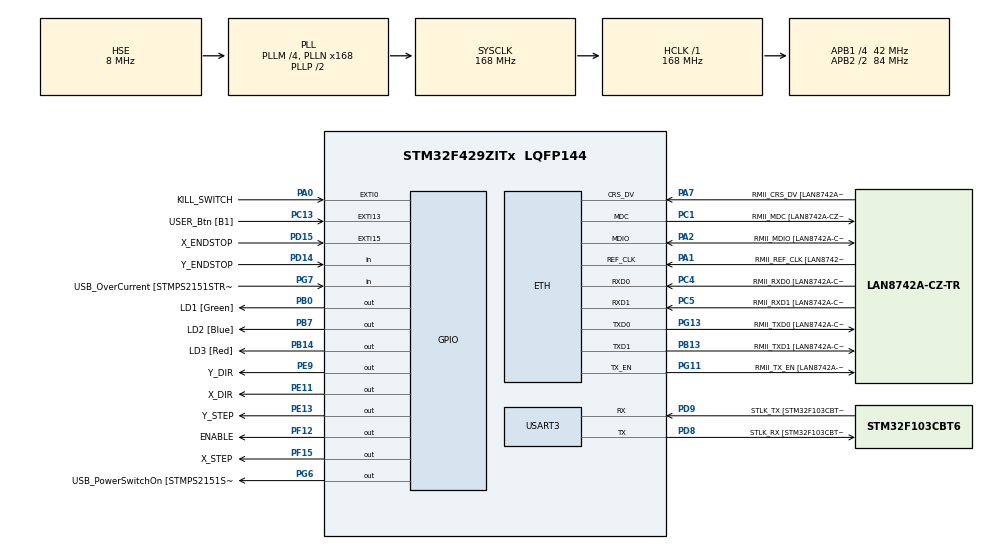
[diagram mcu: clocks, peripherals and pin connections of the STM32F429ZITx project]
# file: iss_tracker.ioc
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ETH.MediaInterface=HAL_ETH_RMII_MODE
ETH.PHY_Name=LAN8742A_PHY_ADDRESS
ETH.PHY_Value=0
ETH.PhyAddress=0
Mcu.Family=STM32F4
Mcu.Name=STM32F429ZITx
Mcu.Package=LQFP144
NVIC.EXTI0_IRQn=true\:0\:0\:false\:false\:true\:true\:true\:true
NVIC.PriorityGroup=NVIC_PRIORITYGROUP_4
NVIC.USART3_IRQn=true\:0\:0\:false\:false\:true\:true\:true\:true
PA0/WKUP.GPIO_Label=KILL_SWITCH
PA0/WKUP.GPIO_PuPd=GPIO_PULLUP
PA0/WKUP.Signal=GPXTI0
PA1.GPIO_Label=RMII_REF_CLK [LAN8742A-CZ-TR_REFCLK0]
PA1.Mode=RMII
PA1.Signal=ETH_REF_CLK
PA10.GPIO_Label=USB_ID
PA10.Signal=USB_OTG_FS_ID
PA11.GPIO_Label=USB_DM
PA11.Signal=USB_OTG_FS_DM
PA12.GPIO_Label=USB_DP
PA12.Signal=USB_OTG_FS_DP
PA13.GPIO_Label=TMS
PA13.Mode=Serial_Wire
PA13.Signal=SYS_JTMS-SWDIO
PA14.GPIO_Label=TCK
PA14.Mode=Serial_Wire
PA14.Signal=SYS_JTCK-SWCLK
PA2.GPIO_Label=RMII_MDIO [LAN8742A-CZ-TR_MDIO]
PA2.Mode=RMII
PA2.Signal=ETH_MDIO
PA7.GPIO_Label=RMII_CRS_DV [LAN8742A-CZ-TR_CRS_DV]
PA7.Mode=RMII
PA7.Signal=ETH_CRS_DV
PA8.GPIO_Label=USB_SOF [TP1]
PA8.Signal=USB_OTG_FS_SOF
PA9.GPIO_Label=USB_VBUS
PA9.Signal=USB_OTG_FS_VBUS
PB0.GPIO_Label=LD1 [Green]
PB0.Signal=GPIO_Output
PB13.GPIO_Label=RMII_TXD1 [LAN8742A-CZ-TR_TXD1]
PB13.Mode=RMII
PB13.Signal=ETH_TXD1
PB14.GPIO_Label=LD3 [Red]
PB14.Signal=GPIO_Output
PB7.GPIO_Label=LD2 [Blue]
PB7.Signal=GPIO_Output
PC1.GPIO_Label=RMII_MDC [LAN8742A-CZ-TR_MDC]
PC1.Mode=RMII
PC1.Signal=ETH_MDC
PC13.GPIO_Label=USER_Btn [B1]
PC13.Signal=GPXTI13
PC14/OSC32_IN.Mode=LSE-External-Oscillator
PC14/OSC32_IN.Signal=RCC_OSC32_IN
PC15/OSC32_OUT.Mode=LSE-External-Oscillator
PC15/OSC32_OUT.Signal=RCC_OSC32_OUT
PC4.GPIO_Label=RMII_RXD0 [LAN8742A-CZ-TR_RXD0]
PC4.Mode=RMII
PC4.Signal=ETH_RXD0
PC5.GPIO_Label=RMII_RXD1 [LAN8742A-CZ-TR_RXD1]
PC5.Mode=RMII
PC5.Signal=ETH_RXD1
PD14.GPIO_Label=Y_ENDSTOP
PD14.GPIO_PuPd=GPIO_PULLUP
PD14.Signal=GPIO_Input
PD15.GPIO_Label=X_ENDSTOP
PD15.GPIO_PuPd=GPIO_PULLUP
PD15.Signal=GPXTI15
PD8.GPIO_Label=STLK_RX [STM32F103CBT6_PA3]
PD8.Mode=Asynchronous
PD8.Signal=USART3_TX
PD9.GPIO_Label=STLK_TX [STM32F103CBT6_PA2]
PD9.Mode=Asynchronous
PD9.Signal=USART3_RX
PE11.GPIO_Label=X_DIR
PE11.Signal=GPIO_Output
PE13.GPIO_Label=Y_STEP
PE13.Signal=GPIO_Output
PE9.GPIO_Label=Y_DIR
PE9.PinState=GPIO_PIN_SET
PE9.Signal=GPIO_Output
PF12.GPIO_Label=ENABLE
PF12.Signal=GPIO_Output
PF15.GPIO_Label=X_STEP
PF15.Signal=GPIO_Output
PG11.GPIO_Label=RMII_TX_EN [LAN8742A-CZ-TR_TXEN]
PG11.Mode=RMII
PG11.Signal=ETH_TX_EN
PG13.GPIO_Label=RMII_TXD0 [LAN8742A-CZ-TR_TXD0]
PG13.Mode=RMII
PG13.Signal=ETH_TXD0
PG6.GPIO_Label=USB_PowerSwitchOn [STMPS2151STR_EN]
PG6.Signal=GPIO_Output
PG7.GPIO_Label=USB_OverCurrent [STMPS2151STR_FAULT]
PG7.Signal=GPIO_Input
PH0/OSC_IN.GPIO_Label=MCO [STM32F103CBT6_PA8]
PH0/OSC_IN.Mode=HSE-External-Clock-Source
PH0/OSC_IN.Signal=RCC_OSC_IN
PH1/OSC_OUT.Mode=HSE-External-Clock-Source
PH1/OSC_OUT.Signal=RCC_OSC_OUT
ProjectManager.HeapSize=0x200
ProjectManager.StackSize=0x400
ProjectManager.TargetToolchain=STM32CubeIDE
RCC.48MHZClocksFreq_Value=48000000
RCC.AHBFreq_Value=168000000
RCC.APB1CLKDivider=RCC_HCLK_DIV4
RCC.APB1Freq_Value=42000000
RCC.APB1TimFreq_Value=84000000
RCC.APB2CLKDivider=RCC_HCLK_DIV2
RCC.APB2Freq_Value=84000000
RCC.APB2TimCLKDivider=2
RCC.APB2TimFreq_Value=168000000
RCC.CortexFreq_Value=168000000
RCC.HCLKFreq_Value=168000000
RCC.HSE_VALUE=8000000
RCC.HSI_VALUE=16000000
RCC.PLLM=4
RCC.PLLMUL=RCC_PLL_MUL9
RCC.PLLN=168
RCC.PLLQ=7
RCC.PLLSourceVirtual=RCC_PLLSOURCE_HSE
RCC.PRESCALERUSB=RCC_USBCLKSOURCE_PLL_DIV1_5
RCC.SYSCLKFreq_VALUE=168000000
RCC.SYSCLKSource=RCC_SYSCLKSOURCE_PLLCLK
RCC.SYSCLKSourceVirtual=RCC_SYSCLKSOURCE_PLLCLK
RCC.USBFreq_Value=48000000
RCC.VCOOutputFreq_Value=336000000
USART3.VirtualMode=VM_ASYNC
board=NUCLEO-F429ZI

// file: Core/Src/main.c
/* USER CODE BEGIN Header */
/**
  ******************************************************************************
  * @file           : main.c
  * @brief          : Main program body
  ******************************************************************************
  * @attention
  *
  * Copyright (c) 2023 STMicroelectronics.
  * All rights reserved.
  *
  * This software is licensed under terms that can be found in the LICENSE file
  * in the root directory of this software component.
  * If no LICENSE file comes with this software, it is provided AS-IS.
  *
  ******************************************************************************
  */
/* USER CODE END Header */
#include "main.h"
#include "string.h"

/* USER CODE BEGIN Includes */
#include "stepper.h"
/* USER CODE END Includes */

ETH_TxPacketConfig TxConfig;
ETH_DMADescTypeDef  DMARxDscrTab[ETH_RX_DESC_CNT]; /* Ethernet Rx DMA Descriptors */
ETH_DMADescTypeDef  DMATxDscrTab[ETH_TX_DESC_CNT]; /* Ethernet Tx DMA Descriptors */

ETH_HandleTypeDef heth;

UART_HandleTypeDef huart3;

/* USER CODE BEGIN PV */
uint8_t rx_data[9];  //  creating a buffer of 10 bytes
volatile uint8_t newDataReceived = 0;
volatile uint8_t calibrationComplete = 0;

/* USER CODE END PV */

void SystemClock_Config(void);
static void MX_GPIO_Init(void);
static void MX_ETH_Init(void);
static void MX_USART3_UART_Init(void);

/* USER CODE BEGIN 0 */
typedef struct {
	int elevation_angle;
	int bearing_angle;
} ApiData;

ApiData apiData;

void CalibrateStepper(Stepper* stepperObj) {
    // Move stepper until endstop is reached
    while (Stepper_GetEndswitchState(stepperObj) == GPIO_PIN_RESET) {
        Stepper_Step(stepperObj);
    }

    // Calibration complete, set the flag
    calibrationComplete = 1;
}
void HAL_UART_RxCpltCallback(UART_HandleTypeDef *huart)
{
    // Your existing code
    HAL_UART_Receive_IT(&huart3, rx_data, 9);

    // Parse the received data to extract elevation and bearing angles
    sscanf((char*)rx_data, "%d:%d", &apiData.elevation_angle, &apiData.bearing_angle);

    // Set the flag to indicate that new data is received
    newDataReceived = 1;
	/*char debugMsg[50];
	sprintf(debugMsg, "New data recceived:  %d:%d\r\n", apiData.elevation_angle, apiData.bearing_angle);
	HAL_UART_Transmit(&huart3, (uint8_t*)debugMsg, strlen(debugMsg), HAL_MAX_DELAY);*/
}
/* USER CODE END 0 */

int main(void)
{

  /* MCU Configuration--------------------------------------------------------*/

  /* Reset of all peripherals, Initializes the Flash interface and the Systick. */
  HAL_Init();

  /* Configure the system clock */
  SystemClock_Config();

  /* Initialize all configured peripherals */
  MX_GPIO_Init();
  MX_ETH_Init();
  MX_USART3_UART_Init();
  /* USER CODE BEGIN 2 */
  Stepper stepperObject_X;
  PortPin stepperPortPin_X = {
		  .port = X_STEP_GPIO_Port,
		  .pin = X_STEP_Pin
  };
  PortPin dirPortPin_X = {
		  .port = X_DIR_GPIO_Port,
		  .pin = X_DIR_Pin
  };
  PortPin endswitchPortPin_X = {
		  .port = X_ENDSTOP_GPIO_Port,
		  .pin = X_ENDSTOP_Pin
  };

  Stepper_Init(&stepperObject_X, stepperPortPin_X, dirPortPin_X, endswitchPortPin_X, 0.6);

  Stepper stepperObject_Y;
  PortPin stepperPortPin_Y = {
		  .port = Y_STEP_GPIO_Port,
		  .pin = Y_STEP_Pin
  };
  PortPin dirPortPin_Y = {
		  .port = Y_DIR_GPIO_Port,
		  .pin = Y_DIR_Pin
  };
  PortPin endswitchPortPin_Y = {
		  .port = Y_ENDSTOP_GPIO_Port,
		  .pin = Y_ENDSTOP_Pin
  };

  Stepper_Init(&stepperObject_Y, stepperPortPin_Y, dirPortPin_Y, endswitchPortPin_Y, 0.45);
  CalibrateStepper(&stepperObject_X);
  CalibrateStepper(&stepperObject_Y);

  HAL_UART_Receive_IT (&huart3, rx_data, 9);
  /* USER CODE END 2 */

  /* Infinite loop */
  while (1)
  {

    /* USER CODE BEGIN 3 */
	  // Print debug message with received data
	  HAL_Delay(500);
	  char debugMsg[50];
	  sprintf(debugMsg, "New data received - Elevation: %d, Bearing: %d\r\n", apiData.elevation_angle, apiData.bearing_angle);
	  HAL_UART_Transmit(&huart3, (uint8_t*)debugMsg, strlen(debugMsg), HAL_MAX_DELAY);

	  // Move the motors based on the received data (assuming proper implementation of Stepper_TurnAngleRelative)
	  Stepper_TurnToAngleAbsolute(&stepperObject_X, (float)apiData.elevation_angle); //270
	  Stepper_TurnToAngleAbsolute(&stepperObject_Y, (float)apiData.bearing_angle); //45

	  // Reset the flag
	  newDataReceived = 0;
//    char msg[20];
//    sprintf(msg, "Value: %d, %d\r\n", apiData.elevation_angle, apiData.bearing_angle);
//	HAL_UART_Transmit(&huart3, msg, sizeof(msg), HAL_MAX_DELAY);
  }
  /* USER CODE END 3 */
}

void SystemClock_Config(void)
{
  RCC_OscInitTypeDef RCC_OscInitStruct = {0};
  RCC_ClkInitTypeDef RCC_ClkInitStruct = {0};

  /** Configure the main internal regulator output voltage
  */
  __HAL_RCC_PWR_CLK_ENABLE();
  __HAL_PWR_VOLTAGESCALING_CONFIG(PWR_REGULATOR_VOLTAGE_SCALE1);

  /** Initializes the RCC Oscillators according to the specified parameters
  * in the RCC_OscInitTypeDef structure.
  */
  RCC_OscInitStruct.OscillatorType = RCC_OSCILLATORTYPE_HSE;
  RCC_OscInitStruct.HSEState = RCC_HSE_BYPASS;
  RCC_OscInitStruct.PLL.PLLState = RCC_PLL_ON;
  RCC_OscInitStruct.PLL.PLLSource = RCC_PLLSOURCE_HSE;
  RCC_OscInitStruct.PLL.PLLM = 4;
  RCC_OscInitStruct.PLL.PLLN = 168;
  RCC_OscInitStruct.PLL.PLLP = RCC_PLLP_DIV2;
  RCC_OscInitStruct.PLL.PLLQ = 7;
  if (HAL_RCC_OscConfig(&RCC_OscInitStruct) != HAL_OK)
  {
    Error_Handler();
  }

  /** Initializes the CPU, AHB and APB buses clocks
  */
  RCC_ClkInitStruct.ClockType = RCC_CLOCKTYPE_HCLK|RCC_CLOCKTYPE_SYSCLK
                              |RCC_CLOCKTYPE_PCLK1|RCC_CLOCKTYPE_PCLK2;
  RCC_ClkInitStruct.SYSCLKSource = RCC_SYSCLKSOURCE_PLLCLK;
  RCC_ClkInitStruct.AHBCLKDivider = RCC_SYSCLK_DIV1;
  RCC_ClkInitStruct.APB1CLKDivider = RCC_HCLK_DIV4;
  RCC_ClkInitStruct.APB2CLKDivider = RCC_HCLK_DIV2;

  if (HAL_RCC_ClockConfig(&RCC_ClkInitStruct, FLASH_LATENCY_5) != HAL_OK)
  {
    Error_Handler();
  }
}

static void MX_ETH_Init(void)
{

   static uint8_t MACAddr[6];

  heth.Instance = ETH;
  MACAddr[0] = 0x00;
  MACAddr[1] = 0x80;
  MACAddr[2] = 0xE1;
  MACAddr[3] = 0x00;
  MACAddr[4] = 0x00;
  MACAddr[5] = 0x00;
  heth.Init.MACAddr = &MACAddr[0];
  heth.Init.MediaInterface = HAL_ETH_RMII_MODE;
  heth.Init.TxDesc = DMATxDscrTab;
  heth.Init.RxDesc = DMARxDscrTab;
  heth.Init.RxBuffLen = 1524;

  if (HAL_ETH_Init(&heth) != HAL_OK)
  {
    Error_Handler();
  }

  memset(&TxConfig, 0 , sizeof(ETH_TxPacketConfig));
  TxConfig.Attributes = ETH_TX_PACKETS_FEATURES_CSUM | ETH_TX_PACKETS_FEATURES_CRCPAD;
  TxConfig.ChecksumCtrl = ETH_CHECKSUM_IPHDR_PAYLOAD_INSERT_PHDR_CALC;
  TxConfig.CRCPadCtrl = ETH_CRC_PAD_INSERT;

}

static void MX_USART3_UART_Init(void)
{

  huart3.Instance = USART3;
  huart3.Init.BaudRate = 115200;
  huart3.Init.WordLength = UART_WORDLENGTH_8B;
  huart3.Init.StopBits = UART_STOPBITS_1;
  huart3.Init.Parity = UART_PARITY_NONE;
  huart3.Init.Mode = UART_MODE_TX_RX;
  huart3.Init.HwFlowCtl = UART_HWCONTROL_NONE;
  huart3.Init.OverSampling = UART_OVERSAMPLING_16;
  if (HAL_UART_Init(&huart3) != HAL_OK)
  {
    Error_Handler();
  }

}

static void MX_GPIO_Init(void)
{
  GPIO_InitTypeDef GPIO_InitStruct = {0};

  /* GPIO Ports Clock Enable */
  __HAL_RCC_GPIOC_CLK_ENABLE();
  __HAL_RCC_GPIOH_CLK_ENABLE();
  __HAL_RCC_GPIOA_CLK_ENABLE();
  __HAL_RCC_GPIOB_CLK_ENABLE();
  __HAL_RCC_GPIOF_CLK_ENABLE();
  __HAL_RCC_GPIOE_CLK_ENABLE();
  __HAL_RCC_GPIOD_CLK_ENABLE();
  __HAL_RCC_GPIOG_CLK_ENABLE();

  /*Configure GPIO pin Output Level */
  HAL_GPIO_WritePin(GPIOB, LD1_Pin|LD3_Pin|LD2_Pin, GPIO_PIN_RESET);

  /*Configure GPIO pin Output Level */
  HAL_GPIO_WritePin(GPIOF, ENABLE_Pin|X_STEP_Pin, GPIO_PIN_RESET);

  /*Configure GPIO pin Output Level */
  HAL_GPIO_WritePin(Y_DIR_GPIO_Port, Y_DIR_Pin, GPIO_PIN_SET);

  /*Configure GPIO pin Output Level */
  HAL_GPIO_WritePin(GPIOE, X_DIR_Pin|Y_STEP_Pin, GPIO_PIN_RESET);

  /*Configure GPIO pin Output Level */
  HAL_GPIO_WritePin(USB_PowerSwitchOn_GPIO_Port, USB_PowerSwitchOn_Pin, GPIO_PIN_RESET);

  /*Configure GPIO pin : USER_Btn_Pin */
  GPIO_InitStruct.Pin = USER_Btn_Pin;
  GPIO_InitStruct.Mode = GPIO_MODE_IT_RISING;
  GPIO_InitStruct.Pull = GPIO_NOPULL;
  HAL_GPIO_Init(USER_Btn_GPIO_Port, &GPIO_InitStruct);

  /*Configure GPIO pin : KILL_SWITCH_Pin */
  GPIO_InitStruct.Pin = KILL_SWITCH_Pin;
  GPIO_InitStruct.Mode = GPIO_MODE_IT_RISING;
  GPIO_InitStruct.Pull = GPIO_PULLUP;
  HAL_GPIO_Init(KILL_SWITCH_GPIO_Port, &GPIO_InitStruct);

  /*Configure GPIO pins : LD1_Pin LD3_Pin LD2_Pin */
  GPIO_InitStruct.Pin = LD1_Pin|LD3_Pin|LD2_Pin;
  GPIO_InitStruct.Mode = GPIO_MODE_OUTPUT_PP;
  GPIO_InitStruct.Pull = GPIO_NOPULL;
  GPIO_InitStruct.Speed = GPIO_SPEED_FREQ_LOW;
  HAL_GPIO_Init(GPIOB, &GPIO_InitStruct);

  /*Configure GPIO pins : ENABLE_Pin X_STEP_Pin */
  GPIO_InitStruct.Pin = ENABLE_Pin|X_STEP_Pin;
  GPIO_InitStruct.Mode = GPIO_MODE_OUTPUT_PP;
  GPIO_InitStruct.Pull = GPIO_NOPULL;
  GPIO_InitStruct.Speed = GPIO_SPEED_FREQ_LOW;
  HAL_GPIO_Init(GPIOF, &GPIO_InitStruct);

  /*Configure GPIO pins : Y_DIR_Pin X_DIR_Pin Y_STEP_Pin */
  GPIO_InitStruct.Pin = Y_DIR_Pin|X_DIR_Pin|Y_STEP_Pin;
  GPIO_InitStruct.Mode = GPIO_MODE_OUTPUT_PP;
  GPIO_InitStruct.Pull = GPIO_NOPULL;
  GPIO_InitStruct.Speed = GPIO_SPEED_FREQ_LOW;
  HAL_GPIO_Init(GPIOE, &GPIO_InitStruct);

  /*Configure GPIO pin : Y_ENDSTOP_Pin */
  GPIO_InitStruct.Pin = Y_ENDSTOP_Pin;
  GPIO_InitStruct.Mode = GPIO_MODE_INPUT;
  GPIO_InitStruct.Pull = GPIO_PULLUP;
  HAL_GPIO_Init(Y_ENDSTOP_GPIO_Port, &GPIO_InitStruct);

  /*Configure GPIO pin : X_ENDSTOP_Pin */
  GPIO_InitStruct.Pin = X_ENDSTOP_Pin;
  GPIO_InitStruct.Mode = GPIO_MODE_IT_RISING;
  GPIO_InitStruct.Pull = GPIO_PULLUP;
  HAL_GPIO_Init(X_ENDSTOP_GPIO_Port, &GPIO_InitStruct);

  /*Configure GPIO pin : USB_PowerSwitchOn_Pin */
  GPIO_InitStruct.Pin = USB_PowerSwitchOn_Pin;
  GPIO_InitStruct.Mode = GPIO_MODE_OUTPUT_PP;
  GPIO_InitStruct.Pull = GPIO_NOPULL;
  GPIO_InitStruct.Speed = GPIO_SPEED_FREQ_LOW;
  HAL_GPIO_Init(USB_PowerSwitchOn_GPIO_Port, &GPIO_InitStruct);

  /*Configure GPIO pin : USB_OverCurrent_Pin */
  GPIO_InitStruct.Pin = USB_OverCurrent_Pin;
  GPIO_InitStruct.Mode = GPIO_MODE_INPUT;
  GPIO_InitStruct.Pull = GPIO_NOPULL;
  HAL_GPIO_Init(USB_OverCurrent_GPIO_Port, &GPIO_InitStruct);

  /*Configure GPIO pins : USB_SOF_Pin USB_ID_Pin USB_DM_Pin USB_DP_Pin */
  GPIO_InitStruct.Pin = USB_SOF_Pin|USB_ID_Pin|USB_DM_Pin|USB_DP_Pin;
  GPIO_InitStruct.Mode = GPIO_MODE_AF_PP;
  GPIO_InitStruct.Pull = GPIO_NOPULL;
  GPIO_InitStruct.Speed = GPIO_SPEED_FREQ_VERY_HIGH;
  GPIO_InitStruct.Alternate = GPIO_AF10_OTG_FS;
  HAL_GPIO_Init(GPIOA, &GPIO_InitStruct);

  /*Configure GPIO pin : USB_VBUS_Pin */
  GPIO_InitStruct.Pin = USB_VBUS_Pin;
  GPIO_InitStruct.Mode = GPIO_MODE_INPUT;
  GPIO_InitStruct.Pull = GPIO_NOPULL;
  HAL_GPIO_Init(USB_VBUS_GPIO_Port, &GPIO_InitStruct);

  /* EXTI interrupt init*/
  HAL_NVIC_SetPriority(EXTI0_IRQn, 0, 0);
  HAL_NVIC_EnableIRQ(EXTI0_IRQn);

}

void Error_Handler(void)
{
  __disable_irq();
  while (1)
  {
  }
}
